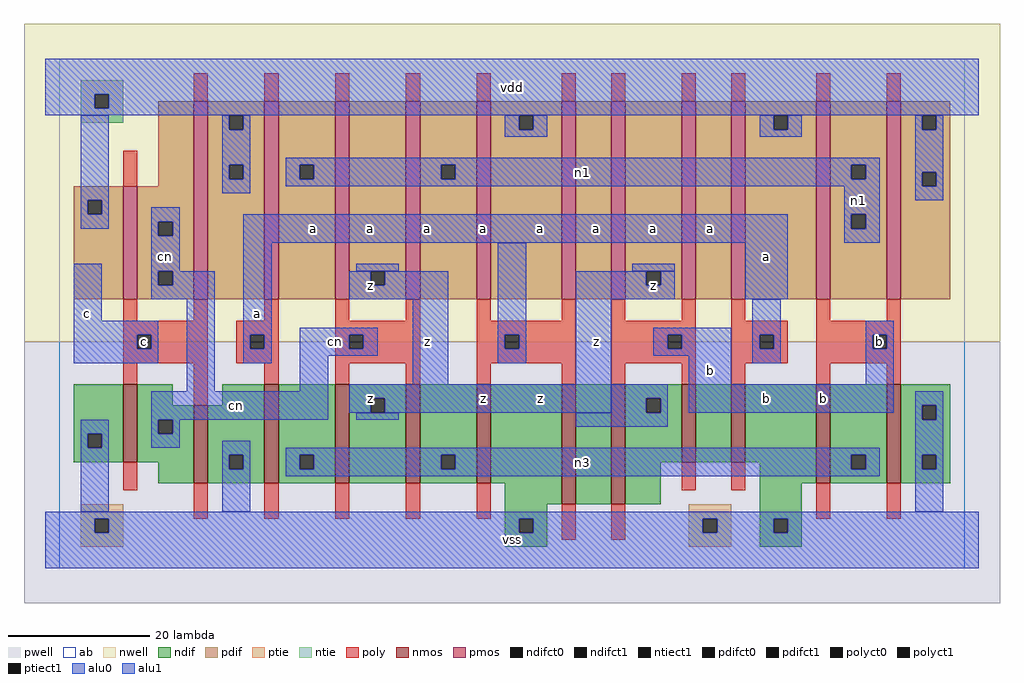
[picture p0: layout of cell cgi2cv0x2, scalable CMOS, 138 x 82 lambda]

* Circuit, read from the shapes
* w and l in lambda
.subckt cgi2cv0x2 a b c cn n1 n3 vdd vss z
M1 cn c vss vss nfet w=11 l=2 m=2
M2 n3 a vss vss nfet w=14 l=2 m=2
M3 z cn n3 vss nfet w=14 l=2 m=2
M4 n2 a vss vss nfet w=17 l=2
M5 z b n2 vss nfet w=17 l=2
M6 n4 b z vss nfet w=11 l=2
M7 vss a n4 vss nfet w=11 l=2
M8 n3 b vss vss nfet w=14 l=2 m=2
M9 cn c vdd vdd pfet w=16 l=2
M10 vdd c cn vdd pfet w=28 l=2
M11 n1 a vdd vdd pfet w=28 l=2 m=2
M12 z cn n1 vdd pfet w=28 l=2 m=2
M13 n5 a vdd vdd pfet w=28 l=2
M14 z b n5 vdd pfet w=28 l=2
M15 n6 b z vdd pfet w=28 l=2
M16 vdd a n6 vdd pfet w=28 l=2
M17 n1 b vdd vdd pfet w=28 l=2 m=2
.ends

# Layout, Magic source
magic
tech scmos
<< ab >>
rect 0 0 128 72
<< nwell >>
rect -5 32 133 77
<< pwell >>
rect -5 -5 133 32
<< poly >>
rect 19 66 21 70
rect 29 66 31 70
rect 39 66 41 70
rect 49 66 51 70
rect 59 66 61 70
rect 71 66 73 70
rect 78 66 80 70
rect 88 66 90 70
rect 95 66 97 70
rect 107 66 109 70
rect 117 66 119 70
rect 9 54 11 59
rect 9 35 11 38
rect 19 35 21 38
rect 29 35 31 38
rect 9 33 21 35
rect 9 31 11 33
rect 13 31 21 33
rect 9 29 21 31
rect 25 33 31 35
rect 25 31 27 33
rect 29 31 31 33
rect 25 29 31 31
rect 9 26 11 29
rect 19 23 21 29
rect 29 26 31 29
rect 39 35 41 38
rect 49 35 51 38
rect 39 33 51 35
rect 39 31 41 33
rect 43 31 51 33
rect 39 29 51 31
rect 39 26 41 29
rect 49 26 51 29
rect 59 35 61 38
rect 71 35 73 38
rect 59 33 73 35
rect 59 31 63 33
rect 65 31 73 33
rect 59 29 73 31
rect 59 26 61 29
rect 71 26 73 29
rect 78 35 80 38
rect 88 35 90 38
rect 78 33 90 35
rect 78 31 86 33
rect 88 31 90 33
rect 78 29 90 31
rect 78 26 80 29
rect 88 26 90 29
rect 95 35 97 38
rect 107 35 109 38
rect 117 35 119 38
rect 95 33 103 35
rect 95 31 99 33
rect 101 31 103 33
rect 95 29 103 31
rect 107 33 119 35
rect 107 31 115 33
rect 117 31 119 33
rect 107 29 119 31
rect 95 26 97 29
rect 107 26 109 29
rect 117 26 119 29
rect 9 11 11 15
rect 19 7 21 12
rect 29 7 31 12
rect 39 7 41 12
rect 49 7 51 12
rect 59 7 61 12
rect 88 11 90 15
rect 95 11 97 15
rect 71 4 73 9
rect 78 4 80 9
rect 107 7 109 12
rect 117 7 119 12
<< ndif >>
rect 2 19 9 26
rect 2 17 4 19
rect 6 17 9 19
rect 2 15 9 17
rect 11 23 16 26
rect 23 23 29 26
rect 11 21 19 23
rect 11 19 14 21
rect 16 19 19 21
rect 11 15 19 19
rect 14 12 19 15
rect 21 16 29 23
rect 21 14 24 16
rect 26 14 29 16
rect 21 12 29 14
rect 31 16 39 26
rect 31 14 34 16
rect 36 14 39 16
rect 31 12 39 14
rect 41 24 49 26
rect 41 22 44 24
rect 46 22 49 24
rect 41 12 49 22
rect 51 16 59 26
rect 51 14 54 16
rect 56 14 59 16
rect 51 12 59 14
rect 61 12 71 26
rect 63 9 71 12
rect 73 9 78 26
rect 80 24 88 26
rect 80 22 83 24
rect 85 22 88 24
rect 80 15 88 22
rect 90 15 95 26
rect 97 15 107 26
rect 80 9 85 15
rect 99 12 107 15
rect 109 16 117 26
rect 109 14 112 16
rect 114 14 117 16
rect 109 12 117 14
rect 119 23 126 26
rect 119 21 122 23
rect 124 21 126 23
rect 119 16 126 21
rect 119 14 122 16
rect 124 14 126 16
rect 119 12 126 14
rect 63 7 69 9
rect 63 5 65 7
rect 67 5 69 7
rect 63 3 69 5
rect 99 7 105 12
rect 99 5 101 7
rect 103 5 105 7
rect 99 3 105 5
<< pdif >>
rect 14 54 19 66
rect 2 52 9 54
rect 2 50 4 52
rect 6 50 9 52
rect 2 38 9 50
rect 11 49 19 54
rect 11 47 14 49
rect 16 47 19 49
rect 11 42 19 47
rect 11 40 14 42
rect 16 40 19 42
rect 11 38 19 40
rect 21 64 29 66
rect 21 62 24 64
rect 26 62 29 64
rect 21 57 29 62
rect 21 55 24 57
rect 26 55 29 57
rect 21 38 29 55
rect 31 57 39 66
rect 31 55 34 57
rect 36 55 39 57
rect 31 38 39 55
rect 41 42 49 66
rect 41 40 44 42
rect 46 40 49 42
rect 41 38 49 40
rect 51 57 59 66
rect 51 55 54 57
rect 56 55 59 57
rect 51 38 59 55
rect 61 64 71 66
rect 61 62 65 64
rect 67 62 71 64
rect 61 38 71 62
rect 73 38 78 66
rect 80 42 88 66
rect 80 40 83 42
rect 85 40 88 42
rect 80 38 88 40
rect 90 38 95 66
rect 97 64 107 66
rect 97 62 101 64
rect 103 62 107 64
rect 97 38 107 62
rect 109 57 117 66
rect 109 55 112 57
rect 114 55 117 57
rect 109 50 117 55
rect 109 48 112 50
rect 114 48 117 50
rect 109 38 117 48
rect 119 64 126 66
rect 119 62 122 64
rect 124 62 126 64
rect 119 56 126 62
rect 119 54 122 56
rect 124 54 126 56
rect 119 38 126 54
<< alu1 >>
rect -2 67 130 72
rect -2 65 5 67
rect 7 65 130 67
rect -2 64 130 65
rect 2 35 6 43
rect 26 46 103 50
rect 2 33 14 35
rect 2 31 11 33
rect 13 31 14 33
rect 2 29 14 31
rect 26 33 30 46
rect 41 40 44 42
rect 46 40 55 42
rect 41 38 55 40
rect 26 31 27 33
rect 29 31 30 33
rect 26 29 30 31
rect 50 26 55 38
rect 73 40 83 42
rect 85 40 87 42
rect 73 38 87 40
rect 97 38 103 46
rect 73 26 78 38
rect 84 33 95 34
rect 84 31 86 33
rect 88 31 95 33
rect 84 30 95 31
rect 89 26 95 30
rect 114 33 118 35
rect 114 31 115 33
rect 117 31 118 33
rect 114 26 118 31
rect 41 24 78 26
rect 41 22 44 24
rect 46 22 78 24
rect 89 22 118 26
rect -2 7 130 8
rect -2 5 5 7
rect 7 5 65 7
rect 67 5 91 7
rect 93 5 101 7
rect 103 5 130 7
rect -2 0 130 5
<< ptie >>
rect 3 7 9 9
rect 3 5 5 7
rect 7 5 9 7
rect 3 3 9 5
rect 89 7 95 9
rect 89 5 91 7
rect 93 5 95 7
rect 89 3 95 5
<< ntie >>
rect 3 67 9 69
rect 3 65 5 67
rect 7 65 9 67
rect 3 63 9 65
<< nmos >>
rect 9 15 11 26
rect 19 12 21 23
rect 29 12 31 26
rect 39 12 41 26
rect 49 12 51 26
rect 59 12 61 26
rect 71 9 73 26
rect 78 9 80 26
rect 88 15 90 26
rect 95 15 97 26
rect 107 12 109 26
rect 117 12 119 26
<< pmos >>
rect 9 38 11 54
rect 19 38 21 66
rect 29 38 31 66
rect 39 38 41 66
rect 49 38 51 66
rect 59 38 61 66
rect 71 38 73 66
rect 78 38 80 66
rect 88 38 90 66
rect 95 38 97 66
rect 107 38 109 66
rect 117 38 119 66
<< polyct0 >>
rect 41 31 43 33
rect 63 31 65 33
rect 99 31 101 33
<< polyct1 >>
rect 11 31 13 33
rect 27 31 29 33
rect 86 31 88 33
rect 115 31 117 33
<< ndifct0 >>
rect 4 17 6 19
rect 14 19 16 21
rect 24 14 26 16
rect 34 14 36 16
rect 54 14 56 16
rect 83 22 85 24
rect 112 14 114 16
rect 122 21 124 23
rect 122 14 124 16
<< ndifct1 >>
rect 44 22 46 24
rect 65 5 67 7
rect 101 5 103 7
<< ntiect1 >>
rect 5 65 7 67
<< ptiect1 >>
rect 5 5 7 7
rect 91 5 93 7
<< pdifct0 >>
rect 4 50 6 52
rect 14 47 16 49
rect 14 40 16 42
rect 24 62 26 64
rect 24 55 26 57
rect 34 55 36 57
rect 54 55 56 57
rect 65 62 67 64
rect 101 62 103 64
rect 112 55 114 57
rect 112 48 114 50
rect 122 62 124 64
rect 122 54 124 56
<< pdifct1 >>
rect 44 40 46 42
rect 83 40 85 42
<< alu0 >>
rect 3 52 7 64
rect 23 62 24 64
rect 26 62 27 64
rect 23 57 27 62
rect 63 62 65 64
rect 67 62 69 64
rect 63 61 69 62
rect 99 62 101 64
rect 103 62 105 64
rect 99 61 105 62
rect 121 62 122 64
rect 124 62 125 64
rect 23 55 24 57
rect 26 55 27 57
rect 23 53 27 55
rect 32 57 116 58
rect 32 55 34 57
rect 36 55 54 57
rect 56 55 112 57
rect 114 55 116 57
rect 32 54 116 55
rect 3 50 4 52
rect 6 50 7 52
rect 3 48 7 50
rect 13 49 17 51
rect 111 50 116 54
rect 121 56 125 62
rect 121 54 122 56
rect 124 54 125 56
rect 121 52 125 54
rect 13 47 14 49
rect 16 47 17 49
rect 13 42 17 47
rect 111 48 112 50
rect 114 48 116 50
rect 111 46 116 48
rect 13 40 14 42
rect 16 40 22 42
rect 13 38 22 40
rect 18 25 22 38
rect 42 42 48 43
rect 34 33 45 34
rect 34 31 41 33
rect 43 31 45 33
rect 34 30 45 31
rect 34 25 38 30
rect 62 33 66 46
rect 81 42 87 43
rect 62 31 63 33
rect 65 31 66 33
rect 62 29 66 31
rect 98 33 102 38
rect 98 31 99 33
rect 101 31 102 33
rect 98 29 102 31
rect 13 21 38 25
rect 78 24 86 26
rect 78 22 83 24
rect 85 22 86 24
rect 121 23 125 25
rect 42 21 48 22
rect 3 19 7 21
rect 3 17 4 19
rect 6 17 7 19
rect 13 19 14 21
rect 16 19 17 21
rect 73 20 86 22
rect 121 21 122 23
rect 124 21 125 23
rect 13 17 17 19
rect 3 8 7 17
rect 23 16 27 18
rect 23 14 24 16
rect 26 14 27 16
rect 23 8 27 14
rect 32 16 116 17
rect 32 14 34 16
rect 36 14 54 16
rect 56 14 112 16
rect 114 14 116 16
rect 32 13 116 14
rect 121 16 125 21
rect 121 14 122 16
rect 124 14 125 16
rect 121 8 125 14
<< labels >>
rlabel alu0 15 44 15 44 6 cn
rlabel alu0 39 32 39 32 6 cn
rlabel alu0 25 23 25 23 6 cn
rlabel alu0 74 15 74 15 6 n3
rlabel alu0 113 52 113 52 6 n1
rlabel alu0 74 56 74 56 6 n1
rlabel polyct1 12 32 12 32 6 c
rlabel alu1 4 36 4 36 6 c
rlabel alu1 44 24 44 24 6 z
rlabel alu1 44 40 44 40 6 z
rlabel alu1 28 36 28 36 6 a
rlabel alu1 36 48 36 48 6 a
rlabel alu1 44 48 44 48 6 a
rlabel alu1 64 4 64 4 6 vss
rlabel alu1 60 24 60 24 6 z
rlabel alu1 68 24 68 24 6 z
rlabel alu1 52 32 52 32 6 z
rlabel alu1 52 48 52 48 6 a
rlabel alu1 60 48 60 48 6 a
rlabel alu1 68 48 68 48 6 a
rlabel alu1 64 68 64 68 6 vdd
rlabel alu1 100 24 100 24 6 b
rlabel alu1 92 28 92 28 6 b
rlabel alu1 76 32 76 32 6 z
rlabel alu1 84 40 84 40 6 z
rlabel alu1 100 44 100 44 6 a
rlabel alu1 76 48 76 48 6 a
rlabel alu1 84 48 84 48 6 a
rlabel alu1 92 48 92 48 6 a
rlabel alu1 108 24 108 24 6 b
rlabel polyct1 116 32 116 32 6 b
<< end >>
